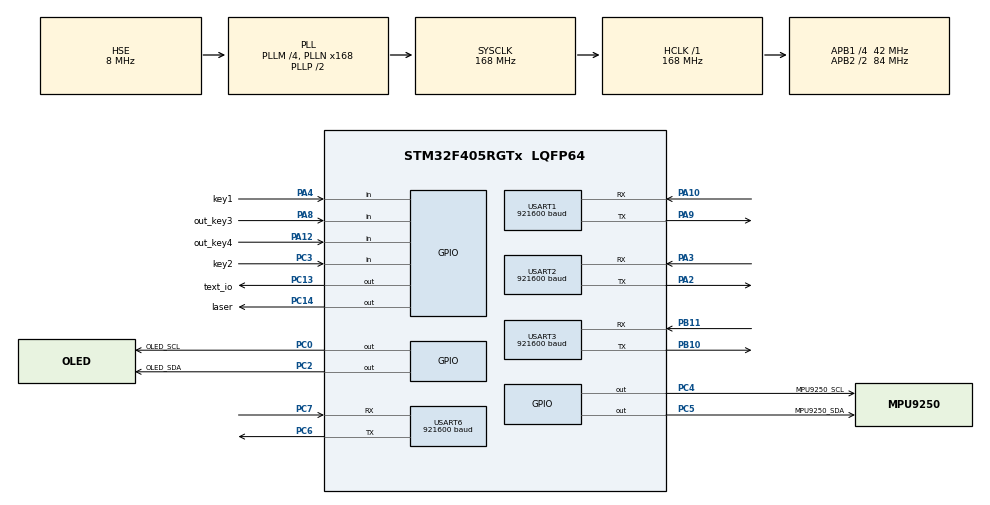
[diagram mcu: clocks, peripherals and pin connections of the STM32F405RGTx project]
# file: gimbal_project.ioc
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Dma.Request0=USART1_RX
Dma.Request1=USART3_RX
Dma.Request2=USART6_RX
Dma.Request3=USART6_TX
Dma.Request4=USART3_TX
Dma.Request5=USART1_TX
Dma.Request6=USART2_RX
Dma.Request7=USART2_TX
Dma.USART1_RX.0.Direction=DMA_PERIPH_TO_MEMORY
Dma.USART1_RX.0.FIFOMode=DMA_FIFOMODE_DISABLE
Dma.USART1_RX.0.Instance=DMA2_Stream2
Dma.USART1_RX.0.MemDataAlignment=DMA_MDATAALIGN_BYTE
Dma.USART1_RX.0.MemInc=DMA_MINC_ENABLE
Dma.USART1_RX.0.Mode=DMA_CIRCULAR
Dma.USART1_RX.0.PeriphDataAlignment=DMA_PDATAALIGN_BYTE
Dma.USART1_RX.0.PeriphInc=DMA_PINC_DISABLE
Dma.USART1_RX.0.Priority=DMA_PRIORITY_LOW
Dma.USART1_TX.5.Direction=DMA_MEMORY_TO_PERIPH
Dma.USART1_TX.5.FIFOMode=DMA_FIFOMODE_DISABLE
Dma.USART1_TX.5.Instance=DMA2_Stream7
Dma.USART1_TX.5.MemDataAlignment=DMA_MDATAALIGN_BYTE
Dma.USART1_TX.5.MemInc=DMA_MINC_ENABLE
Dma.USART1_TX.5.Mode=DMA_NORMAL
Dma.USART1_TX.5.PeriphDataAlignment=DMA_PDATAALIGN_BYTE
Dma.USART1_TX.5.PeriphInc=DMA_PINC_DISABLE
Dma.USART1_TX.5.Priority=DMA_PRIORITY_LOW
Dma.USART2_RX.6.Direction=DMA_PERIPH_TO_MEMORY
Dma.USART2_RX.6.FIFOMode=DMA_FIFOMODE_DISABLE
Dma.USART2_RX.6.Instance=DMA1_Stream5
Dma.USART2_RX.6.MemDataAlignment=DMA_MDATAALIGN_BYTE
Dma.USART2_RX.6.MemInc=DMA_MINC_ENABLE
Dma.USART2_RX.6.Mode=DMA_CIRCULAR
Dma.USART2_RX.6.PeriphDataAlignment=DMA_PDATAALIGN_BYTE
Dma.USART2_RX.6.PeriphInc=DMA_PINC_DISABLE
Dma.USART2_RX.6.Priority=DMA_PRIORITY_LOW
Dma.USART2_TX.7.Direction=DMA_MEMORY_TO_PERIPH
Dma.USART2_TX.7.FIFOMode=DMA_FIFOMODE_DISABLE
Dma.USART2_TX.7.Instance=DMA1_Stream6
Dma.USART2_TX.7.MemDataAlignment=DMA_MDATAALIGN_BYTE
Dma.USART2_TX.7.MemInc=DMA_MINC_ENABLE
Dma.USART2_TX.7.Mode=DMA_NORMAL
Dma.USART2_TX.7.PeriphDataAlignment=DMA_PDATAALIGN_BYTE
Dma.USART2_TX.7.PeriphInc=DMA_PINC_DISABLE
Dma.USART2_TX.7.Priority=DMA_PRIORITY_LOW
Dma.USART3_RX.1.Direction=DMA_PERIPH_TO_MEMORY
Dma.USART3_RX.1.FIFOMode=DMA_FIFOMODE_DISABLE
Dma.USART3_RX.1.Instance=DMA1_Stream1
Dma.USART3_RX.1.MemDataAlignment=DMA_MDATAALIGN_BYTE
Dma.USART3_RX.1.MemInc=DMA_MINC_ENABLE
Dma.USART3_RX.1.Mode=DMA_CIRCULAR
Dma.USART3_RX.1.PeriphDataAlignment=DMA_PDATAALIGN_BYTE
Dma.USART3_RX.1.PeriphInc=DMA_PINC_DISABLE
Dma.USART3_RX.1.Priority=DMA_PRIORITY_LOW
Dma.USART3_TX.4.Direction=DMA_MEMORY_TO_PERIPH
Dma.USART3_TX.4.FIFOMode=DMA_FIFOMODE_DISABLE
Dma.USART3_TX.4.Instance=DMA1_Stream3
Dma.USART3_TX.4.MemDataAlignment=DMA_MDATAALIGN_BYTE
Dma.USART3_TX.4.MemInc=DMA_MINC_ENABLE
Dma.USART3_TX.4.Mode=DMA_NORMAL
Dma.USART3_TX.4.PeriphDataAlignment=DMA_PDATAALIGN_BYTE
Dma.USART3_TX.4.PeriphInc=DMA_PINC_DISABLE
Dma.USART3_TX.4.Priority=DMA_PRIORITY_LOW
Dma.USART6_RX.2.Direction=DMA_PERIPH_TO_MEMORY
Dma.USART6_RX.2.FIFOMode=DMA_FIFOMODE_DISABLE
Dma.USART6_RX.2.Instance=DMA2_Stream1
Dma.USART6_RX.2.MemDataAlignment=DMA_MDATAALIGN_BYTE
Dma.USART6_RX.2.MemInc=DMA_MINC_ENABLE
Dma.USART6_RX.2.Mode=DMA_CIRCULAR
Dma.USART6_RX.2.PeriphDataAlignment=DMA_PDATAALIGN_BYTE
Dma.USART6_RX.2.PeriphInc=DMA_PINC_DISABLE
Dma.USART6_RX.2.Priority=DMA_PRIORITY_LOW
Dma.USART6_TX.3.Direction=DMA_MEMORY_TO_PERIPH
Dma.USART6_TX.3.FIFOMode=DMA_FIFOMODE_DISABLE
Dma.USART6_TX.3.Instance=DMA2_Stream6
Dma.USART6_TX.3.MemDataAlignment=DMA_MDATAALIGN_BYTE
Dma.USART6_TX.3.MemInc=DMA_MINC_ENABLE
Dma.USART6_TX.3.Mode=DMA_CIRCULAR
Dma.USART6_TX.3.PeriphDataAlignment=DMA_PDATAALIGN_BYTE
Dma.USART6_TX.3.PeriphInc=DMA_PINC_DISABLE
Dma.USART6_TX.3.Priority=DMA_PRIORITY_LOW
Mcu.Family=STM32F4
Mcu.Name=STM32F405RGTx
Mcu.Package=LQFP64
NVIC.DMA1_Stream1_IRQn=true\:0\:0\:false\:false\:true\:false\:true\:true
NVIC.DMA1_Stream3_IRQn=true\:0\:0\:false\:false\:true\:false\:true\:true
NVIC.DMA1_Stream5_IRQn=true\:0\:0\:false\:false\:true\:false\:true\:true
NVIC.DMA1_Stream6_IRQn=true\:0\:0\:false\:false\:true\:false\:true\:true
NVIC.DMA2_Stream1_IRQn=true\:0\:0\:false\:false\:true\:false\:true\:true
NVIC.DMA2_Stream2_IRQn=true\:0\:0\:false\:false\:true\:false\:true\:true
NVIC.DMA2_Stream6_IRQn=true\:0\:0\:false\:false\:true\:false\:true\:true
NVIC.DMA2_Stream7_IRQn=true\:0\:0\:false\:false\:true\:false\:true\:true
NVIC.PriorityGroup=NVIC_PRIORITYGROUP_4
NVIC.TIM7_IRQn=true\:0\:0\:false\:false\:true\:true\:true\:true
NVIC.TIM8_BRK_TIM12_IRQn=true\:0\:0\:false\:false\:true\:true\:true\:true
NVIC.TIM8_CC_IRQn=true\:0\:0\:false\:false\:true\:true\:true\:true
NVIC.TIM8_TRG_COM_TIM14_IRQn=true\:0\:0\:false\:false\:true\:true\:true\:true
NVIC.TIM8_UP_TIM13_IRQn=true\:0\:0\:false\:false\:true\:true\:true\:true
NVIC.USART1_IRQn=true\:0\:0\:false\:false\:true\:true\:true\:true
NVIC.USART2_IRQn=true\:0\:0\:false\:false\:true\:true\:true\:true
NVIC.USART3_IRQn=true\:0\:0\:false\:false\:true\:true\:true\:true
NVIC.USART6_IRQn=true\:0\:0\:false\:false\:true\:true\:true\:true
PA10.Mode=Asynchronous
PA10.Signal=USART1_RX
PA12.GPIO_Label=out_key4
PA12.GPIO_PuPd=GPIO_PULLUP
PA12.Signal=GPIO_Input
PA13.Mode=Serial_Wire
PA13.Signal=SYS_JTMS-SWDIO
PA14.Mode=Serial_Wire
PA14.Signal=SYS_JTCK-SWCLK
PA2.Mode=Asynchronous
PA2.Signal=USART2_TX
PA3.Mode=Asynchronous
PA3.Signal=USART2_RX
PA4.GPIO_Label=key1
PA4.GPIO_PuPd=GPIO_PULLUP
PA4.Signal=GPIO_Input
PA8.GPIO_Label=out_key3
PA8.GPIO_PuPd=GPIO_PULLUP
PA8.Signal=GPIO_Input
PA9.Mode=Asynchronous
PA9.Signal=USART1_TX
PB10.Mode=Asynchronous
PB10.Signal=USART3_TX
PB11.Mode=Asynchronous
PB11.Signal=USART3_RX
PC0.GPIO_Label=OLED_SCL
PC0.GPIO_ModeDefaultOutputPP=GPIO_MODE_OUTPUT_OD
PC0.GPIO_PuPd=GPIO_PULLUP
PC0.GPIO_Speed=GPIO_SPEED_FREQ_VERY_HIGH
PC0.Signal=GPIO_Output
PC13-ANTI_TAMP.GPIO_Label=text_io
PC13-ANTI_TAMP.Signal=GPIO_Output
PC14-OSC32_IN.GPIO_Label=laser
PC14-OSC32_IN.Signal=GPIO_Output
PC2.GPIO_Label=OLED_SDA
PC2.GPIO_ModeDefaultOutputPP=GPIO_MODE_OUTPUT_OD
PC2.GPIO_PuPd=GPIO_PULLUP
PC2.GPIO_Speed=GPIO_SPEED_FREQ_VERY_HIGH
PC2.Signal=GPIO_Output
PC3.GPIO_Label=key2
PC3.GPIO_PuPd=GPIO_PULLUP
PC3.Signal=GPIO_Input
PC4.GPIO_Label=MPU9250_SCL
PC4.Signal=GPIO_Output
PC5.GPIO_Label=MPU9250_SDA
PC5.PinState=GPIO_PIN_SET
PC5.Signal=GPIO_Output
PC6.Mode=Asynchronous
PC6.Signal=USART6_TX
PC7.Mode=Asynchronous
PC7.Signal=USART6_RX
PH0-OSC_IN.Mode=HSE-External-Oscillator
PH0-OSC_IN.Signal=RCC_OSC_IN
PH1-OSC_OUT.Mode=HSE-External-Oscillator
PH1-OSC_OUT.Signal=RCC_OSC_OUT
ProjectManager.HeapSize=0x200
ProjectManager.StackSize=0x400
ProjectManager.TargetToolchain=MDK-ARM V5.32
RCC.48MHZClocksFreq_Value=84000000
RCC.AHBFreq_Value=168000000
RCC.APB1CLKDivider=RCC_HCLK_DIV4
RCC.APB1Freq_Value=42000000
RCC.APB1TimFreq_Value=84000000
RCC.APB2CLKDivider=RCC_HCLK_DIV2
RCC.APB2Freq_Value=84000000
RCC.APB2TimFreq_Value=168000000
RCC.CortexFreq_Value=168000000
RCC.HCLKFreq_Value=168000000
RCC.HSE_VALUE=8000000
RCC.HSI_VALUE=16000000
RCC.LSE_VALUE=32768
RCC.PLLM=4
RCC.PLLN=168
RCC.PLLSourceVirtual=RCC_PLLSOURCE_HSE
RCC.SYSCLKFreq_VALUE=168000000
RCC.SYSCLKSource=RCC_SYSCLKSOURCE_PLLCLK
RCC.VCOOutputFreq_Value=336000000
TIM7.Period=999
TIM7.Prescaler=83
TIM8.AutoReloadPreload=TIM_AUTORELOAD_PRELOAD_ENABLE
TIM8.Period=10000-1
TIM8.Prescaler=168-1
USART1.BaudRate=921600
USART1.VirtualMode=VM_ASYNC
USART2.BaudRate=921600
USART2.VirtualMode=VM_ASYNC
USART3.BaudRate=921600
USART3.VirtualMode=VM_ASYNC
USART6.BaudRate=921600
USART6.VirtualMode=VM_ASYNC
VP_TIM7_VS_ClockSourceINT.Mode=Enable_Timer
VP_TIM8_VS_ClockSourceINT.Mode=Internal
board=custom

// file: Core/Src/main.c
/* USER CODE BEGIN Header */
/**
 ******************************************************************************
 * @file           : main.c
 * @brief          : Main program body
 ******************************************************************************
 * @attention
 *
 * Copyright (c) 2026 STMicroelectronics.
 * All rights reserved.
 *
 * This software is licensed under terms that can be found in the LICENSE file
 * in the root directory of this software component.
 * If no LICENSE file comes with this software, it is provided AS-IS.
 *
 ******************************************************************************
 */
/* USER CODE END Header */
#include "main.h"
#include "dma.h"
#include "tim.h"
#include "usart.h"
#include "gpio.h"

/* USER CODE BEGIN Includes */
#include "ZhangDaTou.h"
#include "common.h"
#include "user_tim.h"
// #include "mpu9250_app.h"
#include "oled.h"

/* USER CODE END Includes */

void SystemClock_Config(void);
/* USER CODE BEGIN PFP */
void OLED_Show(sys_t *sys);

/* USER CODE END PFP */

/* USER CODE BEGIN 0 */
uint8_t rx_byte;

// ����OLED
char display_buf[32];
/* USER CODE END 0 */

int main(void)
{

  /* MCU Configuration--------------------------------------------------------*/

  /* Reset of all peripherals, Initializes the Flash interface and the Systick. */
  HAL_Init();

  /* Configure the system clock */
  SystemClock_Config();

  /* Initialize all configured peripherals */
  MX_GPIO_Init();
  MX_DMA_Init();
  MX_USART1_UART_Init();
  MX_USART3_UART_Init();
  MX_USART6_UART_Init();
  MX_TIM7_Init();
  MX_TIM8_Init();
  MX_USART2_UART_Init();
  /* USER CODE BEGIN 2 */

  ZDT_UART_RxStart();
  HAL_Delay(100);
  gimbal_init();
  HAL_Delay(500);

  // while (MPU9250_UserInit() != 0U)
  // {
  //   HAL_Delay(100);
  // }

  // H
  // ZhangDaTou_Enable(&pitchmotor, 0);
  // HAL_Delay(5);
  // ZhangDaTou_Enable(&yawmotor, 0);
  // HAL_Delay(5);

  // H
  ZhangDaTou_Enable(&pitchmotor, 1);
  HAL_Delay(5);
  // ZhangDaTou_Enable(&yawmotor, 1);
  // HAL_Delay(5);

  // H
  // ZhangDaTou_StartPosFeedback(&pitchmotor, 5);
  // HAL_Delay(50);
  // ZhangDaTou_StartPosFeedback(&yawmotor, 5);
  // HAL_Delay(50);

  // CarSpeak_UART_RxStart();

  key_init();
  menu_init();
  //	yawmotor.setSpeed = 0;

  User_TIM_Init();

  OLED_Init();
  OLED_Clear();
  OLED_ShowString(0, 0, (uint8_t *)"Hello, World!", 16);

  /* USER CODE END 2 */

  /* Infinite loop */
  /* USER CODE BEGIN WHILE */
  while (1)
  {
    // HAL_GPIO_WritePin(text_io_GPIO_Port,text_io_Pin,GPIO_PIN_SET);
    // camera_x_pid_ctrl(&sys, 0.0f);
    // camera_y_pid_ctrl(&sys, 0.0f);
    // HAL_GPIO_WritePin(text_io_GPIO_Port,text_io_Pin,GPIO_PIN_RESET);
    // HAL_Delay(50);

    //    uint8_t text[8] = {11,22,33,44,55,66,77,88};
    //    HAL_UART_Transmit(&huart3, text, 8, 0xFFFF);
    //    HAL_Delay(100);

    //  if (HAL_UART_Receive(&huart3, &rx_byte, 1, 10) == HAL_OK)
    //  {
    //    HAL_UART_Transmit(&huart3, &rx_byte, 1, 0xFFFF);
    //  }
    //  HAL_Delay(100);

    //  ZhangDaTou_Task();

    // uint8_t text[8] = {11,22,33,44,55,66,77,88};
    // HAL_UART_Transmit(&huart6, text, 8, 0xff);
    // HAL_Delay(100);

    // HAL_GPIO_WritePin(GPIOC,GPIO_PIN_14,GPIO_PIN_SET);

    OLED_Show(&sys);

    /* USER CODE END WHILE */

  }
}

void SystemClock_Config(void)
{
  RCC_OscInitTypeDef RCC_OscInitStruct = {0};
  RCC_ClkInitTypeDef RCC_ClkInitStruct = {0};

  /** Configure the main internal regulator output voltage
  */
  __HAL_RCC_PWR_CLK_ENABLE();
  __HAL_PWR_VOLTAGESCALING_CONFIG(PWR_REGULATOR_VOLTAGE_SCALE1);

  /** Initializes the RCC Oscillators according to the specified parameters
  * in the RCC_OscInitTypeDef structure.
  */
  RCC_OscInitStruct.OscillatorType = RCC_OSCILLATORTYPE_HSE;
  RCC_OscInitStruct.HSEState = RCC_HSE_ON;
  RCC_OscInitStruct.PLL.PLLState = RCC_PLL_ON;
  RCC_OscInitStruct.PLL.PLLSource = RCC_PLLSOURCE_HSE;
  RCC_OscInitStruct.PLL.PLLM = 4;
  RCC_OscInitStruct.PLL.PLLN = 168;
  RCC_OscInitStruct.PLL.PLLP = RCC_PLLP_DIV2;
  RCC_OscInitStruct.PLL.PLLQ = 4;
  if (HAL_RCC_OscConfig(&RCC_OscInitStruct) != HAL_OK)
  {
    Error_Handler();
  }

  /** Initializes the CPU, AHB and APB buses clocks
  */
  RCC_ClkInitStruct.ClockType = RCC_CLOCKTYPE_HCLK|RCC_CLOCKTYPE_SYSCLK
                              |RCC_CLOCKTYPE_PCLK1|RCC_CLOCKTYPE_PCLK2;
  RCC_ClkInitStruct.SYSCLKSource = RCC_SYSCLKSOURCE_PLLCLK;
  RCC_ClkInitStruct.AHBCLKDivider = RCC_SYSCLK_DIV1;
  RCC_ClkInitStruct.APB1CLKDivider = RCC_HCLK_DIV4;
  RCC_ClkInitStruct.APB2CLKDivider = RCC_HCLK_DIV2;

  if (HAL_RCC_ClockConfig(&RCC_ClkInitStruct, FLASH_LATENCY_5) != HAL_OK)
  {
    Error_Handler();
  }
}

/* USER CODE BEGIN 4 */
// static const char *menu_item_to_str(uint8_t item)
// {
//   switch (item)
//   {
//   case 0:
//     return "STBY  ";
//   case 1:
//     return "T_S_L ";
//   case 2:
//     return "T_S_R ";
//   case 3:
//     return "T_DYN ";
//   case 4:
//     return "R_DYN ";
//   default:
//     return "UNK   ";
//   }
// }

static const char *menu_item_to_str(menu_item_t item)
{
  switch (item)
  {
  case MENU_ITEM_STANDBY:
    return "STBY";
  case MENU_ITEM_TASK3_STATIC_PM5:
    return "T3";
  case MENU_ITEM_TASK4_AB_CENTER:
    return "T4";
  case MENU_ITEM_TASK5_LAP_CENTER:
    return "T5";
  case MENU_ITEM_TASK6_LAP_SETPOINT:
    return "T6";
  default:
    return "UNK";
  }
}

static const char *run_to_str(void)
{
  if (gimbal_sm_obj.finished)
    return "DONE";

  return menu.in_running ? "ON" : "OFF";
}

static const char *gimbal_state_to_str(gimbal_state state)
{
  switch (state)
  {
  case GIMBAL_IDLE:
    return "IDLE";
  case BALANCE_TASK3_STATIC_PLUS_TO_MINUS:
    return "T3";
  case BALANCE_TASK4_CAR_TO_B_CENTER:
    return "T4";
  case BALANCE_TASK5_CAR_LAP_CENTER:
    return "T5";
  case BALANCE_TASK6_CAR_LAP_SETPOINT:
    return "T6";
  default:
    return "UNK";
  }
}

void OLED_Show(sys_t *sys)
{
  // if ((key2_short_press_cnt & 1))
  // {
  //   if (key2_short_press_cnt == 1)
  //   {
  //     HAL_Delay(200);
  //     sys->task_state = hunter;
  //     key2_short_press_cnt = 3;
  //   }
  //   sprintf(display_buf, "Yaw: %.2f    ", sys->car.m_yaw);
  //   OLED_ShowString(0, 0, (uint8_t *)display_buf, 16);
  //   sprintf(display_buf, "lap: %d      ", sys->car.rev_yaw);
  //   OLED_ShowString(0, 2, (uint8_t *)display_buf, 16);
  //   sprintf(display_buf, "ctrl:%d     ", sys->ctrl.rev_preset_count);
  //   OLED_ShowString(0, 4, (uint8_t *)display_buf, 16);
  //   // sprintf(display_buf, "Yaw: %.2f", sys->car.m_yaw);
  //   // OLED_ShowString(0, 6, (uint8_t *)display_buf, 16);
  // }
  // else
  // {
  //   //		sprintf(display_buf, "                ");
  //   //    OLED_ShowString(0, 0, (uint8_t *)display_buf, 16);
  //   sprintf(display_buf, "      REV   ");
  //   OLED_ShowString(0, 2, (uint8_t *)display_buf, 16);
  //   sprintf(display_buf, "       %d     ", sys->ctrl.rev_preset_count);
  //   OLED_ShowString(0, 4, (uint8_t *)display_buf, 16);
  //   OLED_Clear();
  //   sys->ctrl.rev_preset_count = key1_short_press_cnt % 6;
  //   //    sprintf(display_buf, "               ");
  //   //    OLED_ShowString(4, 0, (uint8_t *)display_buf, 16);
  //   //    sprintf(display_buf, "               ");
  //   //    OLED_ShowString(6, 0, (uint8_t *)display_buf, 16);
  // }

  sprintf(display_buf, "Item:%-4s      ", menu_item_to_str(menu.cur_item));
  OLED_ShowString(0, 0, (uint8_t *)display_buf, 16);

  sprintf(display_buf, "Run :%-4s      ", run_to_str());
  OLED_ShowString(0, 2, (uint8_t *)display_buf, 16);

  if (gimbal_sm_obj.state == BALANCE_TASK3_STATIC_PLUS_TO_MINUS)
  {
    sprintf(display_buf, "GSM :T3   P%d   ", gimbal_sm_obj.task3_phase);
  }
  else if ((gimbal_sm_obj.state == BALANCE_TASK4_CAR_TO_B_CENTER) ||
           (gimbal_sm_obj.state == BALANCE_TASK5_CAR_LAP_CENTER))
  {
    sprintf(display_buf, "GSM :%-4s O    ", gimbal_state_to_str(gimbal_sm_obj.state));
  }
  else if (gimbal_sm_obj.state == BALANCE_TASK6_CAR_LAP_SETPOINT)
  {
    sprintf(display_buf, "GSM :T6   SET  ");
  }
  else
  {
    sprintf(display_buf, "GSM :%-4s     ", gimbal_state_to_str(gimbal_sm_obj.state));
  }
  OLED_ShowString(0, 4, (uint8_t *)display_buf, 16);

  sprintf(display_buf, "Time:%5lums  ", gimbal_sm_obj.elapsed_ms);
  OLED_ShowString(0, 6, (uint8_t *)display_buf, 16);

  // sprintf(display_buf, "Item:%-11s", menu_item_to_str(menu.cur_item));
  // OLED_ShowString(0, 0, (uint8_t *)display_buf, 16);

  // sprintf(display_buf, "Run :%-11s", run_to_str(menu.in_running));
  // OLED_ShowString(0, 2, (uint8_t *)display_buf, 16);

  // sprintf(display_buf, "GSM :%-11s", gimbal_state_to_str(gimbal_sm_obj.state));
  // OLED_ShowString(0, 4, (uint8_t *)display_buf, 16);

}

/* USER CODE END 4 */

void Error_Handler(void)
{
  __disable_irq();
  while (1)
  {
  }
}
